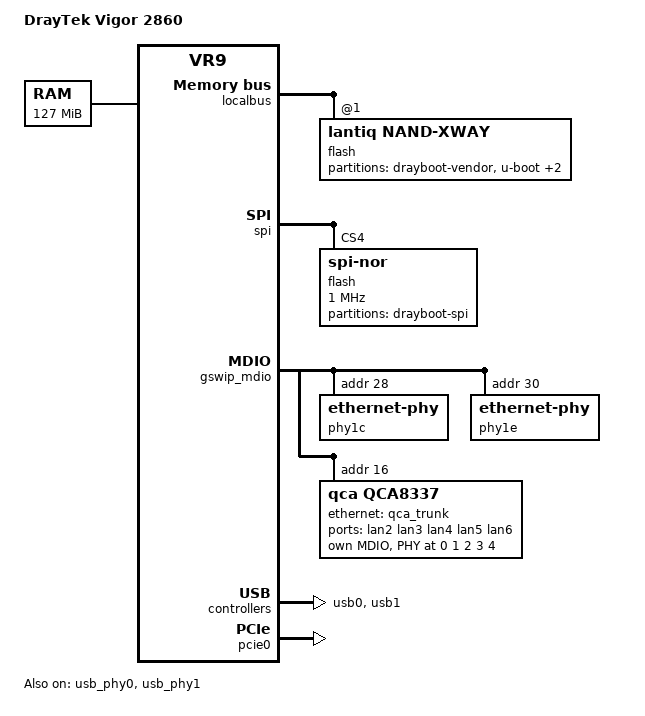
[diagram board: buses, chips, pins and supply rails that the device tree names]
// SPDX-License-Identifier: GPL-2.0-or-later
/*
 * DrayTek Vigor 2860 (Lantiq VRX268 / VR9 / xRX200)
 *
 * Chainloaded by stock DrayBoot: DrayBoot copies U-Boot to CodeStart
 * 0x80020000 and jumps; U-Boot reads the kernel from NAND 0x1480000 and
 * boots it. This DTS owns the full NAND partition map.
 *
 * Confirmed hardware (DrayBoot/DrayOS logs + U-Boot bring-up):
 *   SoC   : VR9 / xRX200 (VRX268 v1.2), MIPS 34Kc, 600 MHz CPU / 300 MHz bus
 *   DRAM  : 128 MiB; top 1 MiB reserved by DrayOS (CP1) -> excluded below
 *   NAND  : Toshiba TC58NVG0S3ETA00, 128 MiB (ID 0x98/0xd1),
 *           2 KiB page, 64 B OOB, 128 KiB erase block; soft ECC
 *   UART  : asc1 = ttyLTQ1 @ 115200 (same console DrayBoot/U-Boot use)
 *   GPHY  : phy11g firmware, A2x stepping (v1.4+ silicon)
 *   MAC   : base 00:1D:AA:5C:48:A0 (DrayBoot SPI-NOR bdinfo @ 0x3FFF8)
 *
 * NAND node mirrors vr9_zyxel_p-2812hnu-f3.dts (this board's template):
 * same controller (lantiq,nand-xway, cs1, soft ECC) - only the partition
 * map differs, to fit DrayBoot's slots. DrayBoot lives on SPI-NOR, which
 * it owns, so no NOR flash@0 node is described here.
 *
 * Still under investigation (BEST GUESS, do not trust yet):
 *   - ethernet port/PHY mapping; CPU-side GMAC TX not yet working. The
 *     likely fix is the GSWIP CPU port (port@6) / xMII setup, not present
 *     here yet - that is the open bring-up item.
 *   - the four external-switch jacks (behind an undescribed xMII switch)
 *   - USB VBUS GPIO, PCIe reset GPIO
 */

/dts-v1/;

#include "vr9.dtsi"

#include <dt-bindings/gpio/gpio.h>
#include <dt-bindings/mips/lantiq_rcu_gphy.h>

/ {
	compatible = "draytek,vigor2860", "lantiq,xway", "lantiq,vr9";
	model = "DrayTek Vigor 2860";

	chosen {
		/* DrayBoot passes no cmdline; set it all here. Console is
		 * ttyLTQ1 (asc1) to match DrayBoot/U-Boot - the old DTS had
		 * ttyLTQ0 in bootargs while stdout-path pointed at asc1, so
		 * kernel output went to the wrong UART and looked like a hang. */
		bootargs = "console=ttyLTQ0,115200 loglevel=8";
		stdout-path = &asc1;
	};

	memory@0 {
		device_type = "memory";
		reg = <0x0 0x7f00000>;	/* 127 MiB; top 1 MiB = DrayOS CP1, left alone */
	};
};

/* ---------------- NAND (Toshiba TC58NVG0S3ETA00, 128 MiB) ----------------
 * Controller node copied verbatim from p2812hnu-f3 (lantiq,nand-xway on
 * CS1, soft ECC - the ECC scheme must match what DrayBoot/U-Boot wrote or
 * Linux sees phantom ECC errors reading back our own kernel/ubi).
 * Partitions are DIRECT children of flash@1 (no fixed-partitions wrapper -
 * that wrapper is for NOR; the nand-xway driver parses partition@* here),
 * with offsets absolute from NAND start.
 */
&localbus {
	flash@1 {
		compatible = "lantiq,nand-xway";
		lantiq,cs = <1>;
		bank-width = <2>;
		reg = <1 0x0 0x2000000>;
		#address-cells = <1>;
		#size-cells = <1>;

		pinctrl-0 = <&nand_pins>, <&nand_cs1_pins>;
		pinctrl-names = "default";

		nand-use-soft-ecc-engine;

		/* DrayTek config / bdinfo region - never written by us */
		partition@0 {
			label = "drayboot-vendor";
			reg = <0x0000000 0x1380000>;
			read-only;
		};

		/* DrayBoot primary firmware slot: 0x100 hdr + U-Boot + pad.
		 * board_late_init() shrinks word0 to 0x80104 on first boot;
		 * immutable thereafter, so read-only keeps sysupgrade/overlay
		 * out of DrayBoot's checksum region. */
		partition@1380000 {
			label = "u-boot";
			reg = <0x1380000 0x100000>;
			read-only;
		};

		/* U-Boot: nand read 0x1480000 0x400000 ; bootm */
		partition@1480000 {
			label = "kernel";
			reg = <0x1480000 0x400000>;
		};

		/* rootfs + overlay; ends at DrayBoot backup slot 0x3380000
		 * so the backup recovery copy stays intact */
		partition@1880000 {
			label = "ubi";
			reg = <0x1880000 0x1b00000>;
		};
	};
};

/* ---------------- SPI-NOR: DrayBoot factory parameters ----------------
 * 256 KiB SPI flash. Factory MAC address at absolute offset 0x3fff8.
 */
&spi {
	status = "okay";

	flash@4 {
		compatible = "jedec,spi-nor";
		reg = <4>;
		spi-max-frequency = <1000000>;

		partitions {
			compatible = "fixed-partitions";
			#address-cells = <1>;
			#size-cells = <1>;

			partition@0 {
				label = "drayboot-spi";
				reg = <0x0 0x40000>;
				read-only;
			};
		};
	};
};

/* =====================================================================
 * Ethernet  --  BEST GUESS, open bring-up item
 * ---------------------------------------------------------------------
 * VR9 has two internal gigabit PHYs. The six physical LAN jacks sit
 * behind an external switch on an xMII port not described here yet.
 * CPU-side GMAC TX is not working - most likely a missing/incorrect CPU
 * port (port@6) / xMII setup, which belongs here once switch wiring is
 * known. Ports labelled neutrally so tcpdump can map socket -> port.
 * ===================================================================== */
&gphy0 { lantiq,gphy-mode = <GPHY_MODE_GE>; };

&gphy1 { lantiq,gphy-mode = <GPHY_MODE_GE>; };

&gswip {
	pinctrl-0 = <&mdio_pins>;
	pinctrl-names = "default";
	dsa,member = <0 0>;        /* NEW: make gswip switch 0 of tree 0 */
	// FIRMWARE and some initial eth init expected to be loaded at uboot time. Moving it to here breaks things
};

&gswip_mdio {
    phy1c: ethernet-phy@1c { reg = <0x1c>; };
    phy1e: ethernet-phy@1e { reg = <0x1e>; };

    qca8337: switch@10 {
        compatible = "qca,qca8337";
        reg = <0x10>;                       /* YOUR strap: 0x10, not 0 */
        dsa,member = <1 0>;
        #address-cells = <1>;
        #size-cells = <0>;

        ports {
            #address-cells = <1>;
            #size-cells = <0>;

            port@0 {                        /* QCA uplink MAC */
                reg = <0>;
                ethernet = <&qca_trunk>;    /* link to the gswip user port */
                phy-mode = "rgmii-id";
                tx-internal-delay-ps = <1000>;
                rx-internal-delay-ps = <2000>;
                fixed-link { speed = <1000>; full-duplex; };
            };
            port@1 { reg = <1>; label = "lan2"; phy-mode = "internal"; phy-handle = <&qphy0>; };
            port@2 { reg = <2>; label = "lan3"; phy-mode = "internal"; phy-handle = <&qphy1>; };
            port@3 { reg = <3>; label = "lan4"; phy-mode = "internal"; phy-handle = <&qphy2>; };
            port@4 { reg = <4>; label = "lan5"; phy-mode = "internal"; phy-handle = <&qphy3>; };
            port@5 { reg = <5>; label = "lan6"; phy-mode = "internal"; phy-handle = <&qphy4>; };
        };

        mdio {
            #address-cells = <1>;
            #size-cells = <0>;
            qphy0: ethernet-phy@0 { reg = <0>; };
            qphy1: ethernet-phy@1 { reg = <1>; };
            qphy2: ethernet-phy@2 { reg = <2>; };
            qphy3: ethernet-phy@3 { reg = <3>; };
            qphy4: ethernet-phy@4 { reg = <4>; };
        };
    };
};

&gswip_ports {
	port@2 { reg = <2>; label = "lan1"; phy-mode = "internal"; phy-handle = <&phy1c>; };
	port@4 { reg = <4>; label = "wan";  phy-mode = "internal"; phy-handle = <&phy1e>; };

	qca_trunk: port@1 {
		reg = <1>;
		label = "qatrunk";                 /* registers a netdev needed as a master */
		phy-mode = "rgmii";
		fixed-link { speed = <1000>; full-duplex; };
	};
};

/* ---------------- USB (both on-chip DWC2 controllers) ----------------
 * No IDs needed. If a stick gets no power, a VBUS GPIO is missing: add a
 * regulator-fixed and vbus-supply once the GPIO is found.
 */
&usb_phy0 {
	status = "okay";
};

&usb0 {
	status = "okay";
};

&usb_phy1 {
	status = "okay";
};

&usb1 {
	status = "okay";
};

/* ---------------- PCIe (lspci / possible Wi-Fi card) ----------------
 * If dmesg shows link-up failures, a reset GPIO is needed:
 *   reset-gpios = <&gpio N GPIO_ACTIVE_LOW>;
 */
&pcie0 {
	status = "okay";
};
